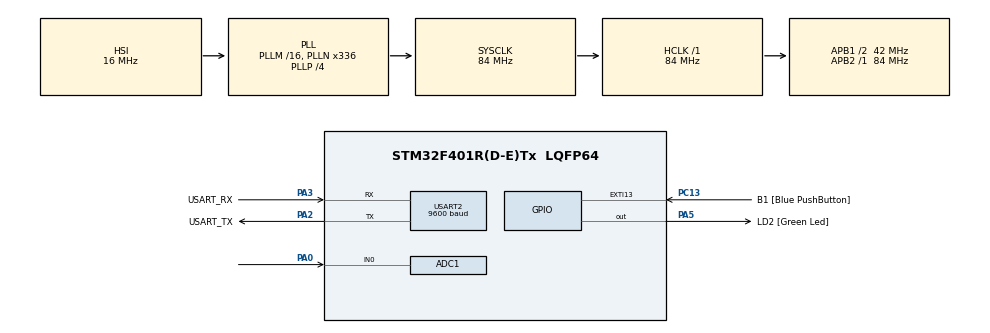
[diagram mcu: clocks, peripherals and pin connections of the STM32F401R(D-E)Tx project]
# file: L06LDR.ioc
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ADC1.Channel-1\#ChannelRegularConversion=ADC_CHANNEL_0
ADC1.DMAContinuousRequests=ENABLE
ADC1.ExternalTrigConv=ADC_EXTERNALTRIGCONV_T2_TRGO
ADC1.NbrOfConversionFlag=1
ADC1.Rank-1\#ChannelRegularConversion=1
ADC1.SamplingTime-1\#ChannelRegularConversion=ADC_SAMPLETIME_480CYCLES
ADC1.ScanConvMode=DISABLE
ADC1.master=1
Dma.ADC1.0.Direction=DMA_PERIPH_TO_MEMORY
Dma.ADC1.0.FIFOMode=DMA_FIFOMODE_DISABLE
Dma.ADC1.0.Instance=DMA2_Stream0
Dma.ADC1.0.MemDataAlignment=DMA_MDATAALIGN_HALFWORD
Dma.ADC1.0.MemInc=DMA_MINC_ENABLE
Dma.ADC1.0.Mode=DMA_CIRCULAR
Dma.ADC1.0.PeriphDataAlignment=DMA_PDATAALIGN_HALFWORD
Dma.ADC1.0.PeriphInc=DMA_PINC_DISABLE
Dma.ADC1.0.Priority=DMA_PRIORITY_LOW
Dma.Request0=ADC1
Dma.Request1=USART2_TX
Dma.USART2_TX.1.Direction=DMA_MEMORY_TO_PERIPH
Dma.USART2_TX.1.FIFOMode=DMA_FIFOMODE_DISABLE
Dma.USART2_TX.1.Instance=DMA1_Stream6
Dma.USART2_TX.1.MemDataAlignment=DMA_MDATAALIGN_BYTE
Dma.USART2_TX.1.MemInc=DMA_MINC_ENABLE
Dma.USART2_TX.1.Mode=DMA_NORMAL
Dma.USART2_TX.1.PeriphDataAlignment=DMA_PDATAALIGN_BYTE
Dma.USART2_TX.1.PeriphInc=DMA_PINC_DISABLE
Dma.USART2_TX.1.Priority=DMA_PRIORITY_LOW
Mcu.Family=STM32F4
Mcu.Name=STM32F401R(D-E)Tx
Mcu.Package=LQFP64
NVIC.ADC_IRQn=true\:0\:0\:false\:false\:true\:true\:true\:true
NVIC.DMA1_Stream6_IRQn=true\:1\:0\:true\:false\:true\:false\:true\:true
NVIC.DMA2_Stream0_IRQn=true\:1\:0\:true\:false\:true\:false\:true\:true
NVIC.PriorityGroup=NVIC_PRIORITYGROUP_1
NVIC.TIM2_IRQn=true\:0\:0\:false\:false\:true\:true\:true\:true
NVIC.USART2_IRQn=true\:0\:0\:false\:false\:true\:true\:true\:true
PA0-WKUP.Signal=ADCx_IN0
PA13.GPIO_Label=TMS
PA13.Mode=Serial_Wire
PA13.Signal=SYS_JTMS-SWDIO
PA14.GPIO_Label=TCK
PA14.Mode=Serial_Wire
PA14.Signal=SYS_JTCK-SWCLK
PA2.GPIO_Label=USART_TX
PA2.GPIO_Mode=GPIO_MODE_AF_PP
PA2.GPIO_PuPd=GPIO_NOPULL
PA2.GPIO_Speed=GPIO_SPEED_FREQ_LOW
PA2.Mode=Asynchronous
PA2.Signal=USART2_TX
PA3.GPIO_Label=USART_RX
PA3.GPIO_Mode=GPIO_MODE_AF_PP
PA3.GPIO_PuPd=GPIO_NOPULL
PA3.GPIO_Speed=GPIO_SPEED_FREQ_LOW
PA3.Mode=Asynchronous
PA3.Signal=USART2_RX
PA5.GPIO_Label=LD2 [Green Led]
PA5.GPIO_Mode=GPIO_MODE_OUTPUT_PP
PA5.GPIO_PuPd=GPIO_NOPULL
PA5.GPIO_Speed=GPIO_SPEED_FREQ_LOW
PA5.Signal=GPIO_Output
PB3.GPIO_Label=SWO
PB3.Signal=SYS_JTDO-SWO
PC13-ANTI_TAMP.GPIO_Label=B1 [Blue PushButton]
PC13-ANTI_TAMP.GPIO_ModeDefaultEXTI=GPIO_MODE_IT_FALLING
PC13-ANTI_TAMP.GPIO_PuPd=GPIO_NOPULL
PC13-ANTI_TAMP.Signal=GPXTI13
PC14-OSC32_IN.Mode=LSE-External-Oscillator
PC14-OSC32_IN.Signal=RCC_OSC32_IN
PC15-OSC32_OUT.Mode=LSE-External-Oscillator
PC15-OSC32_OUT.Signal=RCC_OSC32_OUT
PH0\ -\ OSC_IN.Mode=HSE-External-Clock-Source
PH0\ -\ OSC_IN.Signal=RCC_OSC_IN
PH1\ -\ OSC_OUT.Mode=HSE-External-Clock-Source
PH1\ -\ OSC_OUT.Signal=RCC_OSC_OUT
ProjectManager.HeapSize=0x200
ProjectManager.StackSize=0x400
ProjectManager.TargetToolchain=STM32CubeIDE
RCC.48MHZClocksFreq_Value=48000000
RCC.AHBFreq_Value=84000000
RCC.APB1CLKDivider=RCC_HCLK_DIV2
RCC.APB1Freq_Value=42000000
RCC.APB1TimFreq_Value=84000000
RCC.APB2Freq_Value=84000000
RCC.APB2TimFreq_Value=84000000
RCC.CortexFreq_Value=84000000
RCC.HCLKFreq_Value=84000000
RCC.HSE_VALUE=8000000
RCC.HSI_VALUE=16000000
RCC.PLLN=336
RCC.PLLP=RCC_PLLP_DIV4
RCC.PLLQ=7
RCC.SYSCLKFreq_VALUE=84000000
RCC.SYSCLKSource=RCC_SYSCLKSOURCE_PLLCLK
RCC.VCOOutputFreq_Value=336000000
SH.ADCx_IN0.0=ADC1_IN0,IN0
TIM2.Period=9
TIM2.Prescaler=8399
TIM2.TIM_MasterOutputTrigger=TIM_TRGO_UPDATE
USART2.BaudRate=9600
USART2.VirtualMode=VM_ASYNC
VP_TIM2_VS_ClockSourceINT.Mode=Internal
board=NUCLEO-F401RE

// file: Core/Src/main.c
/* USER CODE BEGIN Header */
/**
  ******************************************************************************
  * @file           : main.c
  * @brief          : Main program body
  ******************************************************************************
  * @attention
  *
  * Copyright (c) 2024 STMicroelectronics.
  * All rights reserved.
  *
  * This software is licensed under terms that can be found in the LICENSE file
  * in the root directory of this software component.
  * If no LICENSE file comes with this software, it is provided AS-IS.
  *
  ******************************************************************************
  */
/* USER CODE END Header */
#include "main.h"

/* USER CODE BEGIN Includes */
#include <stdio.h>
#include <math.h>
/* USER CODE END Includes */

/* USER CODE BEGIN PD */
#define FSR 3.3
#define RESOLUTION_STEPS 4096.0
/* USER CODE END PD */

ADC_HandleTypeDef hadc1;
DMA_HandleTypeDef hdma_adc1;

TIM_HandleTypeDef htim2;

UART_HandleTypeDef huart2;
DMA_HandleTypeDef hdma_usart2_tx;

void SystemClock_Config(void);
static void MX_GPIO_Init(void);
static void MX_DMA_Init(void);
static void MX_USART2_UART_Init(void);
static void MX_ADC1_Init(void);
static void MX_TIM2_Init(void);

/* USER CODE BEGIN 0 */
uint16_t values[1000]; // array to hold values read every ms; holding at maximum the number of values read last second
float avg_resistance = 0; // average of resistance measurements made during last second.
char string[128]; //string to be sent through UART
uint16_t length; //length of string
/* USER CODE END 0 */

int main(void)
{

  /* MCU Configuration--------------------------------------------------------*/

  /* Reset of all peripherals, Initializes the Flash interface and the Systick. */
  HAL_Init();

  /* Configure the system clock */
  SystemClock_Config();

  /* Initialize all configured peripherals */
  MX_GPIO_Init();
  MX_DMA_Init();
  MX_USART2_UART_Init();
  MX_ADC1_Init();
  MX_TIM2_Init();
  /* USER CODE BEGIN 2 */
  HAL_TIM_Base_Start(&htim2);
  HAL_ADC_Start_DMA(&hadc1, values, 1000);
  /* USER CODE END 2 */

  /* Infinite loop */
  while (1)
  {

  }
}

void SystemClock_Config(void)
{
  RCC_OscInitTypeDef RCC_OscInitStruct = {0};
  RCC_ClkInitTypeDef RCC_ClkInitStruct = {0};

  /** Configure the main internal regulator output voltage
  */
  __HAL_RCC_PWR_CLK_ENABLE();
  __HAL_PWR_VOLTAGESCALING_CONFIG(PWR_REGULATOR_VOLTAGE_SCALE2);

  /** Initializes the RCC Oscillators according to the specified parameters
  * in the RCC_OscInitTypeDef structure.
  */
  RCC_OscInitStruct.OscillatorType = RCC_OSCILLATORTYPE_HSI;
  RCC_OscInitStruct.HSIState = RCC_HSI_ON;
  RCC_OscInitStruct.HSICalibrationValue = RCC_HSICALIBRATION_DEFAULT;
  RCC_OscInitStruct.PLL.PLLState = RCC_PLL_ON;
  RCC_OscInitStruct.PLL.PLLSource = RCC_PLLSOURCE_HSI;
  RCC_OscInitStruct.PLL.PLLM = 16;
  RCC_OscInitStruct.PLL.PLLN = 336;
  RCC_OscInitStruct.PLL.PLLP = RCC_PLLP_DIV4;
  RCC_OscInitStruct.PLL.PLLQ = 7;
  if (HAL_RCC_OscConfig(&RCC_OscInitStruct) != HAL_OK)
  {
    Error_Handler();
  }

  /** Initializes the CPU, AHB and APB buses clocks
  */
  RCC_ClkInitStruct.ClockType = RCC_CLOCKTYPE_HCLK|RCC_CLOCKTYPE_SYSCLK
                              |RCC_CLOCKTYPE_PCLK1|RCC_CLOCKTYPE_PCLK2;
  RCC_ClkInitStruct.SYSCLKSource = RCC_SYSCLKSOURCE_PLLCLK;
  RCC_ClkInitStruct.AHBCLKDivider = RCC_SYSCLK_DIV1;
  RCC_ClkInitStruct.APB1CLKDivider = RCC_HCLK_DIV2;
  RCC_ClkInitStruct.APB2CLKDivider = RCC_HCLK_DIV1;

  if (HAL_RCC_ClockConfig(&RCC_ClkInitStruct, FLASH_LATENCY_2) != HAL_OK)
  {
    Error_Handler();
  }
}

static void MX_ADC1_Init(void)
{

  ADC_ChannelConfTypeDef sConfig = {0};

  /** Configure the global features of the ADC (Clock, Resolution, Data Alignment and number of conversion)
  */
  hadc1.Instance = ADC1;
  hadc1.Init.ClockPrescaler = ADC_CLOCK_SYNC_PCLK_DIV4;
  hadc1.Init.Resolution = ADC_RESOLUTION_12B;
  hadc1.Init.ScanConvMode = DISABLE;
  hadc1.Init.ContinuousConvMode = DISABLE;
  hadc1.Init.DiscontinuousConvMode = DISABLE;
  hadc1.Init.ExternalTrigConvEdge = ADC_EXTERNALTRIGCONVEDGE_RISING;
  hadc1.Init.ExternalTrigConv = ADC_EXTERNALTRIGCONV_T2_TRGO;
  hadc1.Init.DataAlign = ADC_DATAALIGN_RIGHT;
  hadc1.Init.NbrOfConversion = 1;
  hadc1.Init.DMAContinuousRequests = ENABLE;
  hadc1.Init.EOCSelection = ADC_EOC_SINGLE_CONV;
  if (HAL_ADC_Init(&hadc1) != HAL_OK)
  {
    Error_Handler();
  }

  /** Configure for the selected ADC regular channel its corresponding rank in the sequencer and its sample time.
  */
  sConfig.Channel = ADC_CHANNEL_0;
  sConfig.Rank = 1;
  sConfig.SamplingTime = ADC_SAMPLETIME_480CYCLES;
  if (HAL_ADC_ConfigChannel(&hadc1, &sConfig) != HAL_OK)
  {
    Error_Handler();
  }

}

static void MX_TIM2_Init(void)
{

  TIM_ClockConfigTypeDef sClockSourceConfig = {0};
  TIM_MasterConfigTypeDef sMasterConfig = {0};

  htim2.Instance = TIM2;
  htim2.Init.Prescaler = 8399;
  htim2.Init.CounterMode = TIM_COUNTERMODE_UP;
  htim2.Init.Period = 9;
  htim2.Init.ClockDivision = TIM_CLOCKDIVISION_DIV1;
  htim2.Init.AutoReloadPreload = TIM_AUTORELOAD_PRELOAD_DISABLE;
  if (HAL_TIM_Base_Init(&htim2) != HAL_OK)
  {
    Error_Handler();
  }
  sClockSourceConfig.ClockSource = TIM_CLOCKSOURCE_INTERNAL;
  if (HAL_TIM_ConfigClockSource(&htim2, &sClockSourceConfig) != HAL_OK)
  {
    Error_Handler();
  }
  sMasterConfig.MasterOutputTrigger = TIM_TRGO_UPDATE;
  sMasterConfig.MasterSlaveMode = TIM_MASTERSLAVEMODE_DISABLE;
  if (HAL_TIMEx_MasterConfigSynchronization(&htim2, &sMasterConfig) != HAL_OK)
  {
    Error_Handler();
  }

}

static void MX_USART2_UART_Init(void)
{

  huart2.Instance = USART2;
  huart2.Init.BaudRate = 9600;
  huart2.Init.WordLength = UART_WORDLENGTH_8B;
  huart2.Init.StopBits = UART_STOPBITS_1;
  huart2.Init.Parity = UART_PARITY_NONE;
  huart2.Init.Mode = UART_MODE_TX_RX;
  huart2.Init.HwFlowCtl = UART_HWCONTROL_NONE;
  huart2.Init.OverSampling = UART_OVERSAMPLING_16;
  if (HAL_UART_Init(&huart2) != HAL_OK)
  {
    Error_Handler();
  }

}

static void MX_DMA_Init(void)
{

  /* DMA controller clock enable */
  __HAL_RCC_DMA2_CLK_ENABLE();
  __HAL_RCC_DMA1_CLK_ENABLE();

  /* DMA interrupt init */
  /* DMA1_Stream6_IRQn interrupt configuration */
  HAL_NVIC_SetPriority(DMA1_Stream6_IRQn, 1, 0);
  HAL_NVIC_EnableIRQ(DMA1_Stream6_IRQn);
  /* DMA2_Stream0_IRQn interrupt configuration */
  HAL_NVIC_SetPriority(DMA2_Stream0_IRQn, 1, 0);
  HAL_NVIC_EnableIRQ(DMA2_Stream0_IRQn);

}

static void MX_GPIO_Init(void)
{
  GPIO_InitTypeDef GPIO_InitStruct = {0};

  /* GPIO Ports Clock Enable */
  __HAL_RCC_GPIOC_CLK_ENABLE();
  __HAL_RCC_GPIOH_CLK_ENABLE();
  __HAL_RCC_GPIOA_CLK_ENABLE();
  __HAL_RCC_GPIOB_CLK_ENABLE();

  /*Configure GPIO pin Output Level */
  HAL_GPIO_WritePin(LD2_GPIO_Port, LD2_Pin, GPIO_PIN_RESET);

  /*Configure GPIO pin : B1_Pin */
  GPIO_InitStruct.Pin = B1_Pin;
  GPIO_InitStruct.Mode = GPIO_MODE_IT_FALLING;
  GPIO_InitStruct.Pull = GPIO_NOPULL;
  HAL_GPIO_Init(B1_GPIO_Port, &GPIO_InitStruct);

  /*Configure GPIO pin : LD2_Pin */
  GPIO_InitStruct.Pin = LD2_Pin;
  GPIO_InitStruct.Mode = GPIO_MODE_OUTPUT_PP;
  GPIO_InitStruct.Pull = GPIO_NOPULL;
  GPIO_InitStruct.Speed = GPIO_SPEED_FREQ_LOW;
  HAL_GPIO_Init(LD2_GPIO_Port, &GPIO_InitStruct);

}

/* USER CODE BEGIN 4 */
void HAL_ADC_ConvHalfCpltCallback(ADC_HandleTypeDef* hadc) {
	float voltage; // voltage of measurement i
	for (int i = 0; i < 500; i++) {
		voltage = values[i] * FSR/RESOLUTION_STEPS;
		avg_resistance += voltage * 100/((FSR - voltage)*1000); // iteratively calculate avg resistance in kOhms
	}
}

void HAL_ADC_ConvCpltCallback(ADC_HandleTypeDef* hadc) {
	float voltage; // voltage of measurement i
	for (int i = 500; i < 1000; i++) {
		voltage = values[i] * FSR/RESOLUTION_STEPS;
		avg_resistance += voltage * 100/((FSR - voltage)*1000);
	}
	// length = snprintf(string, sizeof(string), "Average Resistance: %.3f kΩ\n", avg_resistance); // step 1

	float lux = 10*powf(100/avg_resistance, 1.25);
	length = snprintf(string, sizeof(string), "Average Resistance: %.3f kΩ; Calculated Lux: %.3f\n", avg_resistance, lux); // step 2

	HAL_UART_Transmit_DMA(&huart2, string, length);
	avg_resistance = 0;
}
/* USER CODE END 4 */

void Error_Handler(void)
{
  __disable_irq();
  while (1)
  {
  }
}
